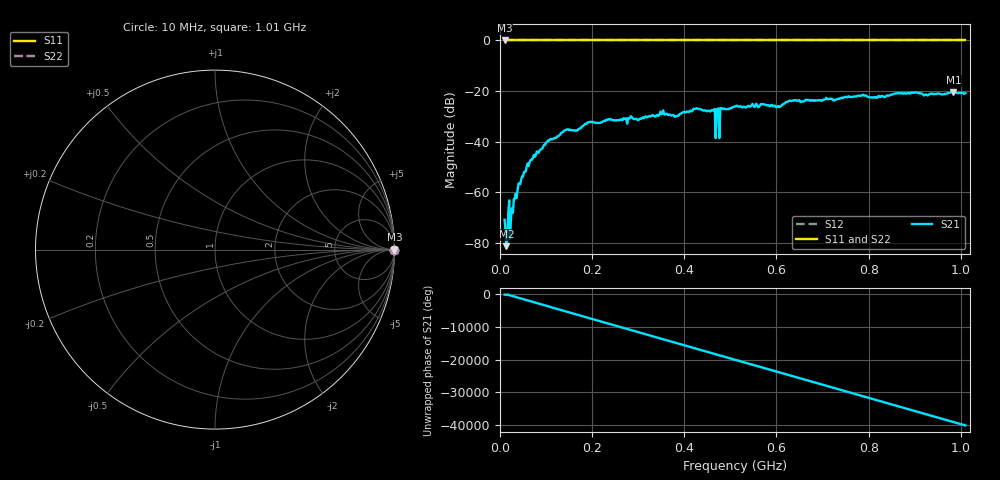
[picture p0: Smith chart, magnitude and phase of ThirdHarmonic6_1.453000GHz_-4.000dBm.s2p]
! 8/16/2025 4:51:12 PM
! C:\ANRITSUVNA\TEMP\TEMP.S2P
! CHANNEL.1
! TR.MEASUREMENT
! RAW.DATA
! RF.CORRECTION.OFF
! AVERAGING.OFF
! IF.BANDWIDTH: 5KHZ
! SWEEPTYPE:  FREQ.SWEEP(Linear)
! Reference Plane Port Info
! PORT:  PORT1  PORT2
! DISTANCE:  0  m  0  m
! TIME:  0  s  0  s
! PHASE.OFFSET:  0  deg.  0  deg.
! LOSS:  0  dB  0  dB
! REF.LOSS:  0  dB  0  dB
! REF.FREQ:  0  Hz  0  Hz
! Power Info
! POWER:  -20  dBm  -20  dBm
! EFF.POWER:  -20  dBm  -20  dBm
! SOURCE.ATTEN:  0  dB  0  dB
! TEST.ATTEN:  0  dB  0  dB
# GHZ S RI R 50.0
! FREQ.GHZ  S11RE  S11IM  S21RE  S21IM  S12RE  S12IM  S22RE  S22IM
!; PortSelection: Port_12
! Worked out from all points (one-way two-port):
!   501 points, 10 MHz to 1.01 GHz, reference 50 ohm
!   highest |S21| = -20.43 dB at 984 MHz (marker M1); lowest = -81.2 dB at 14 MHz (marker M2)
!   lowest |S11| = 0.0 dB at 10 MHz (marker M3)
!   |S11| at or under -10 dB: nowhere
!   |S22| runs from 0.0 to 0.0 dB; largest |S21 - S12| = 1.1
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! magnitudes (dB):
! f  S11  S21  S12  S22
! 10 MHz  0.0  -70.8  0.0  0.0
! 14 MHz  0.0  -81.2  0.0  0.0
! 18 MHz  0.0  -68.0  0.0  0.0
! 22 MHz  0.0  -78.4  0.0  0.0
! 26 MHz  0.0  -66.2  0.0  0.0
! 30 MHz  0.0  -62.6  0.0  0.0
! 44 MHz  0.0  -56.7  0.0  0.0
! 70 MHz  0.0  -47.1  0.0  0.0
! 106 MHz  0.0  -39.6  0.0  0.0
! 178 MHz  0.0  -33.9  0.0  0.0
! 344 MHz  0.0  -29.8  0.0  0.0
! 462 MHz  0.0  -27.6  0.0  0.0
! 464 MHz  0.0  -27.6  0.0  0.0
! 470 MHz  0.0  -27.3  0.0  0.0
! 472 MHz  0.0  -27.0  0.0  0.0
! 482 MHz  0.0  -26.9  0.0  0.0
! 510 MHz  0.0  -26.1  0.0  0.0
! 604 MHz  0.0  -25.9  0.0  0.0
! 678 MHz  0.0  -23.7  0.0  0.0
! 844 MHz  0.0  -21.8  0.0  0.0
! 984 MHz  0.0  -20.4  0.0  0.0
! 1.01 GHz  0.0  -20.8  0.0  0.0
